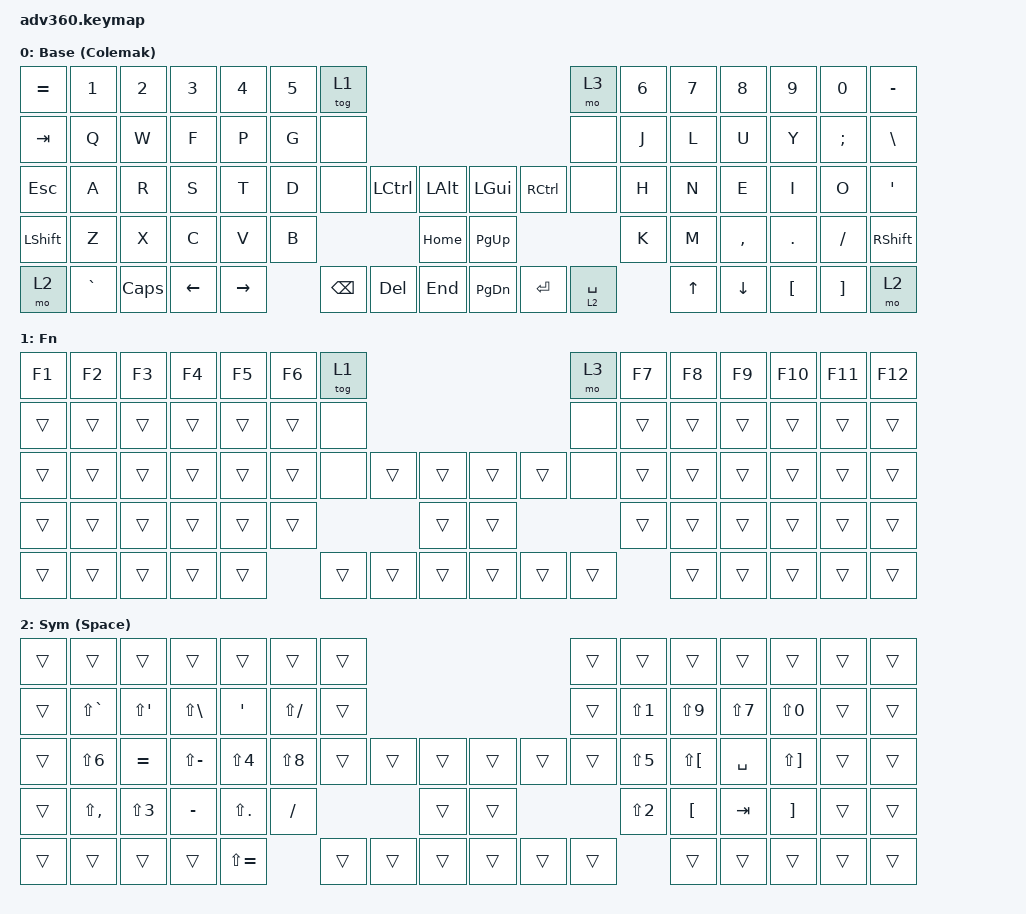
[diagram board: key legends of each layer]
#include <dt-bindings/zmk/stp.h>
#include <behaviors.dtsi>
#include <dt-bindings/zmk/keys.h>

/ {
    behaviors {
        #include "macros.dtsi"
        #include "version.dtsi"

        hm: homerow_mods {
            compatible = "zmk,behavior-hold-tap";
            label = "HOMEROW_MODS";
            #binding-cells = <2>;
            tapping-term-ms = <200>;
            quick_tap_ms = <175>;
            flavor = "tap-preferred";
            bindings = <&kp &kp>;  /* Fixed: two phandles */
        };

        /* Space: tap = SPACE, hold = momentary layer 4 */

        sp_l4: space_layer4 {
            compatible = "zmk,behavior-hold-tap";
            label = "SPACE_LAYER4";
            #binding-cells = <2>;
            tapping-term-ms = <200>;
            quick_tap_ms = <175>;
            flavor = "tap-preferred";
            bindings = <&mo &kp>;  /* Fixed: phandles only */
        };
    };

    keymap {
        compatible = "zmk,keymap";

        default_layer {
            display-name = "Base (Colemak)";
            bindings = <
&kp EQUAL  &kp N1     &kp N2    &kp N3    &kp N4     &kp N5  &tog 1                                                   &mo 3           &kp N6  &kp N7  &kp N8     &kp N9    &kp N0    &kp MINUS
&kp TAB    &kp Q      &kp W     &kp F     &kp P      &kp G   &none                                                    &none           &kp J   &kp L   &kp U      &kp Y     &kp SEMI  &kp BSLH
&kp ESC    &kp A      &kp R     &kp S     &kp T      &kp D   &none     &kp LCTRL  &kp LALT      &kp LGUI   &kp RCTRL  &none           &kp H   &kp N   &kp E      &kp I     &kp O     &kp SQT
&kp LSHFT  &kp Z      &kp X     &kp C     &kp V      &kp B                        &kp HOME      &kp PG_UP                             &kp K   &kp M   &kp COMMA  &kp DOT   &kp FSLH  &kp RSHFT
&mo 2      &kp GRAVE  &kp CAPS  &kp LEFT  &kp RIGHT          &kp BSPC  &kp DEL    &kp END       &kp PG_DN  &kp ENTER  &sp_l4 2 SPACE          &kp UP  &kp DOWN   &kp LBKT  &kp RBKT  &mo 2
            >;
        };

        fn {
            display-name = "Fn";
            bindings = <
&kp F1  &kp F2  &kp F3  &kp F4  &kp F5  &kp F6  &tog 1                                      &mo 3   &kp F7  &kp F8  &kp F9  &kp F10  &kp F11  &kp F12
&trans  &trans  &trans  &trans  &trans  &trans  &none                                       &none   &trans  &trans  &trans  &trans   &trans   &trans
&trans  &trans  &trans  &trans  &trans  &trans  &none   &trans  &trans      &trans  &trans  &none   &trans  &trans  &trans  &trans   &trans   &trans
&trans  &trans  &trans  &trans  &trans  &trans                  &trans      &trans                  &trans  &trans  &trans  &trans   &trans   &trans
&trans  &trans  &trans  &trans  &trans          &trans  &trans  &trans      &trans  &trans  &trans          &trans  &trans  &trans   &trans   &trans
            >;
        };

        /* Layer 4: Symbols (held via Space) */

        sym {
            display-name = "Sym (Space)";
            bindings = <
&trans  &trans         &trans       &trans         &trans         &trans        &trans                                      &trans  &trans      &trans        &trans      &trans        &trans  &trans
&trans  &kp LS(GRAVE)  &kp LS(SQT)  &kp LS(BSLH)   &kp SQT        &kp LS(FSLH)  &trans                                      &trans  &kp LS(N1)  &kp LS(N9)    &kp LS(N7)  &kp LS(N0)    &trans  &trans
&trans  &kp LS(N6)     &kp EQUAL    &kp LS(MINUS)  &kp LS(N4)     &kp LS(N8)    &trans  &trans  &trans      &trans  &trans  &trans  &kp LS(N5)  &kp LS(LBKT)  &kp SPACE   &kp LS(RBKT)  &trans  &trans
&trans  &kp LS(COMMA)  &kp LS(N3)   &kp MINUS      &kp LS(DOT)    &kp FSLH                      &trans      &trans                  &kp LS(N2)  &kp LBKT      &kp TAB     &kp RBKT      &trans  &trans
&trans  &trans         &trans       &trans         &kp LS(EQUAL)                &trans  &trans  &trans      &trans  &trans  &trans              &trans        &trans      &trans        &trans  &trans
            >;
        };

        extra1 {
            display-name = "Red";
            status = "reserved";
        };

        extra2 {
            display-name = "Purple";
            status = "reserved";
        };

        extra3 {
            display-name = "Cyan";
            status = "reserved";
        };

        extra4 {
            display-name = "Yellow";
            status = "reserved";
        };
    };
};
